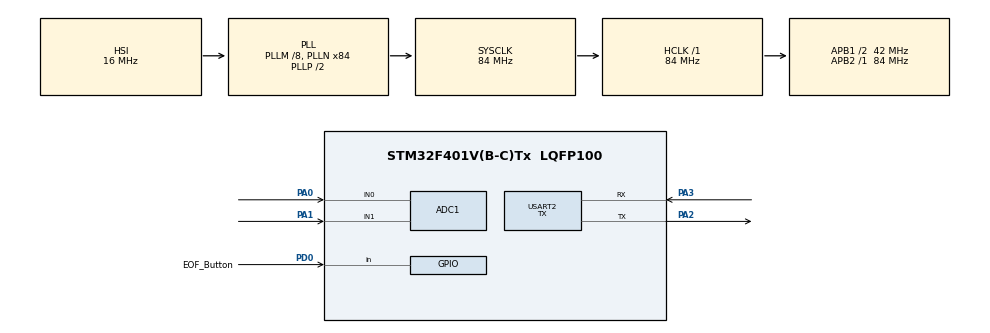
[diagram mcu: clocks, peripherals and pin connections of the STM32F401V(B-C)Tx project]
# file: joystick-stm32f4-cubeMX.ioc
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ADC1.Channel-0\#ChannelRegularConversion=ADC_CHANNEL_0
ADC1.ContinuousConvMode=ENABLE
ADC1.NbrOfConversion=1
ADC1.NbrOfConversionFlag=1
ADC1.Rank-0\#ChannelRegularConversion=1
ADC1.SamplingTime-0\#ChannelRegularConversion=ADC_SAMPLETIME_3CYCLES
ADC1.ScanConvMode=ENABLE
ADC1.master=1
Mcu.Family=STM32F4
Mcu.Name=STM32F401V(B-C)Tx
Mcu.Package=LQFP100
NVIC.PriorityGroup=NVIC_PRIORITYGROUP_0
NVIC.TIM1_UP_TIM10_IRQn=true\:0\:0\:false\:false\:true\:true\:true\:true
PA0-WKUP.Signal=ADCx_IN0
PA1.Signal=ADCx_IN1
PA2.Mode=Asynchronous
PA2.Signal=USART2_TX
PA3.Mode=Asynchronous
PA3.Signal=USART2_RX
PD0.GPIO_Label=EOF_Button
PD0.Signal=GPIO_Input
PH0\ -\ OSC_IN.Mode=HSE-External-Oscillator
PH0\ -\ OSC_IN.Signal=RCC_OSC_IN
PH1\ -\ OSC_OUT.Mode=HSE-External-Oscillator
PH1\ -\ OSC_OUT.Signal=RCC_OSC_OUT
ProjectManager.HeapSize=0x200
ProjectManager.StackSize=0x400
ProjectManager.TargetToolchain=Makefile
RCC.48MHZClocksFreq_Value=24000000
RCC.AHBFreq_Value=84000000
RCC.APB1CLKDivider=RCC_HCLK_DIV2
RCC.APB1Freq_Value=42000000
RCC.APB1TimFreq_Value=84000000
RCC.APB2Freq_Value=84000000
RCC.APB2TimFreq_Value=84000000
RCC.CortexFreq_Value=84000000
RCC.HCLKFreq_Value=84000000
RCC.HSE_VALUE=8000000
RCC.HSI_VALUE=16000000
RCC.LSE_VALUE=32768
RCC.PLLM=8
RCC.PLLN=84
RCC.PLLQ=7
RCC.SYSCLKFreq_VALUE=84000000
RCC.SYSCLKSource=RCC_SYSCLKSOURCE_PLLCLK
RCC.VCOOutputFreq_Value=168000000
SH.ADCx_IN0.0=ADC1_IN0,IN0
SH.ADCx_IN1.0=ADC1_IN1,IN1
TIM1.Period=0xffff
USART2.Mode=MODE_TX
USART2.VirtualMode=VM_ASYNC
VP_TIM1_VS_ClockSourceINT.Mode=Internal
board=STM32F401C-DISCO

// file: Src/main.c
/* USER CODE BEGIN Header */
/**
  ******************************************************************************
  * @file           : main.c
  * @brief          : Main program body
  ******************************************************************************
  * @attention
  *
  * Copyright (c) 2024 STMicroelectronics.
  * All rights reserved.
  *
  * This software is licensed under terms that can be found in the LICENSE file
  * in the root directory of this software component.
  * If no LICENSE file comes with this software, it is provided AS-IS.
  *
  ******************************************************************************
  */
/* USER CODE END Header */
#include "main.h"
#include "adc.h"
#include "tim.h"
#include "usart.h"
#include "gpio.h"

/* USER CODE BEGIN PTD */
struct Data{
	uint32_t time;
	float x;
	float y;
};

typedef struct Data Data;

struct DynamicArray {
	Data *ptr;			// Pointer to where array is located
	size_t length;		// Number of elements used
};

typedef struct DynamicArray DynamicArray;

/* USER CODE END PTD */

void SystemClock_Config(void);

int main(void)
{

  /* MCU Configuration--------------------------------------------------------*/

  /* Reset of all peripherals, Initializes the Flash interface and the Systick. */
  HAL_Init();

  /* Configure the system clock */
  SystemClock_Config();

  /* Initialize all configured peripherals */
  MX_GPIO_Init();
  MX_ADC1_Init();
  MX_TIM1_Init();
  MX_USART2_UART_Init();
  /* USER CODE BEGIN 2 */
  HAL_TIM_Base_Start_IT(&htim1);

  DynamicArray dataArray;
  //initDynamicDataArray(&dataArray, 3000);
  //dataArray.ptr = malloc(3000 * sizeof(struct Data));
  dataArray.length = 0;

  int16_t x_value;
  int16_t y_value;

  float x_standard_value = 0.00;
  float y_standard_value = 0.00;

  int16_t max_input = 4095;
  int16_t min_input = 0;
  int16_t max_output = 1;
  int16_t min_output = -1;

  uint8_t in_benchmark = 0;
  /* USER CODE END 2 */

  /* Infinite loop */
  /* USER CODE BEGIN WHILE */
  while (1)
  {

	if (HAL_GPIO_ReadPin(EOF_Button_GPIO_Port, EOF_Button_Pin) == GPIO_PIN_SET && in_benchmark == 1) {
		in_benchmark = 0;
		while(HAL_GPIO_ReadPin(EOF_Button_GPIO_Port, EOF_Button_Pin));
		for (int i = 0; i < dataArray.length; i++) {
			printf("%d,%.2f,%.2f\r\n", dataArray.ptr[i].time, dataArray.ptr[i].x, dataArray.ptr[i].y);
		}
		printf("End of Transmission\r\n");
		free(dataArray.ptr);
		dataArray.length = 0;
	}

	if (HAL_GPIO_ReadPin(EOF_Button_GPIO_Port, EOF_Button_Pin) == GPIO_PIN_SET && in_benchmark == 0) {
		in_benchmark = 1;
		while(HAL_GPIO_ReadPin(EOF_Button_GPIO_Port, EOF_Button_Pin));
		dataArray.ptr = malloc(3000 * sizeof(struct Data));
		dataArray.length = 0;
	}

		if (in_benchmark == 1) {
		x_value = read_adc_channel(0);
		y_value = read_adc_channel(1);

		x_standard_value = (((float) x_value - min_input) * (max_output - min_output))/(max_input - min_input) + min_output;
		y_standard_value = (((float) y_value - min_input) * (max_output - min_output))/(max_input - min_input) + min_output;

		dataArray.ptr[dataArray.length].time = get_time_ms();
		dataArray.ptr[dataArray.length].x = (float) x_standard_value;
		dataArray.ptr[dataArray.length].y = (float) y_standard_value;
		dataArray.length++;
	}

	delay_ms(10);

    /* USER CODE END WHILE */

  }
}

void SystemClock_Config(void)
{
  RCC_OscInitTypeDef RCC_OscInitStruct = {0};
  RCC_ClkInitTypeDef RCC_ClkInitStruct = {0};

  /** Configure the main internal regulator output voltage
  */
  __HAL_RCC_PWR_CLK_ENABLE();
  __HAL_PWR_VOLTAGESCALING_CONFIG(PWR_REGULATOR_VOLTAGE_SCALE2);

  /** Initializes the RCC Oscillators according to the specified parameters
  * in the RCC_OscInitTypeDef structure.
  */
  RCC_OscInitStruct.OscillatorType = RCC_OSCILLATORTYPE_HSI;
  RCC_OscInitStruct.HSIState = RCC_HSI_ON;
  RCC_OscInitStruct.HSICalibrationValue = RCC_HSICALIBRATION_DEFAULT;
  RCC_OscInitStruct.PLL.PLLState = RCC_PLL_ON;
  RCC_OscInitStruct.PLL.PLLSource = RCC_PLLSOURCE_HSI;
  RCC_OscInitStruct.PLL.PLLM = 8;
  RCC_OscInitStruct.PLL.PLLN = 84;
  RCC_OscInitStruct.PLL.PLLP = RCC_PLLP_DIV2;
  RCC_OscInitStruct.PLL.PLLQ = 7;
  if (HAL_RCC_OscConfig(&RCC_OscInitStruct) != HAL_OK)
  {
    Error_Handler();
  }

  /** Initializes the CPU, AHB and APB buses clocks
  */
  RCC_ClkInitStruct.ClockType = RCC_CLOCKTYPE_HCLK|RCC_CLOCKTYPE_SYSCLK
                              |RCC_CLOCKTYPE_PCLK1|RCC_CLOCKTYPE_PCLK2;
  RCC_ClkInitStruct.SYSCLKSource = RCC_SYSCLKSOURCE_PLLCLK;
  RCC_ClkInitStruct.AHBCLKDivider = RCC_SYSCLK_DIV1;
  RCC_ClkInitStruct.APB1CLKDivider = RCC_HCLK_DIV2;
  RCC_ClkInitStruct.APB2CLKDivider = RCC_HCLK_DIV1;

  if (HAL_RCC_ClockConfig(&RCC_ClkInitStruct, FLASH_LATENCY_2) != HAL_OK)
  {
    Error_Handler();
  }
}

void Error_Handler(void)
{
  __disable_irq();
  while (1)
  {
  }
}
